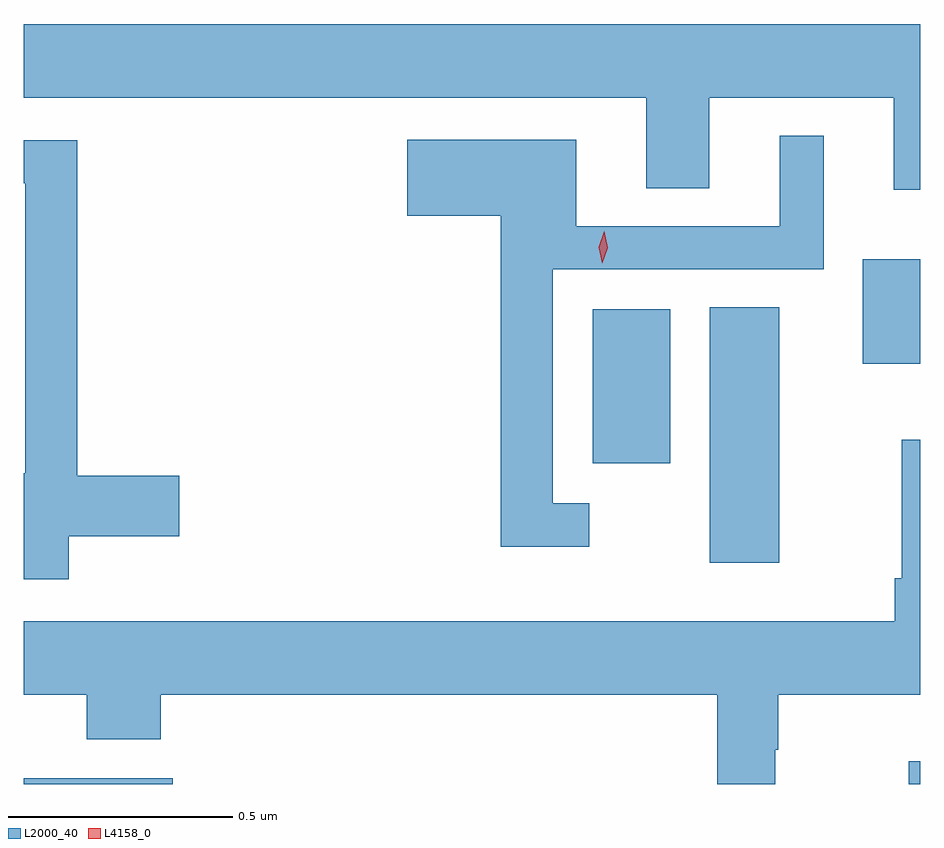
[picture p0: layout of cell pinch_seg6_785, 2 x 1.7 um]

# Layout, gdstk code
import gdstk
lib = gdstk.Library(unit=1e-6, precision=1e-09)
def R(c, l, rs):  # rectangles x0, y0, x1, y1
    for r in rs: c.add(gdstk.rectangle(r[:2], r[2:], *l))
def P(c, l, *ps):  # polygons
    for p in ps: c.add(gdstk.Polygon(p, *l))
L2000_40 = (2000, 40)
L4158_0 = (4158, 0)

pinch_seg6_785 = lib.new_cell('pinch_seg6_785')
R(pinch_seg6_785, L2000_40, [(614.936,916.501,615.269,916.514), (616.91,916.501,616.936,916.552), (616.466,916.995,616.621,917.564), (616.205,917.216,616.378,917.56), (616.808,917.438,616.936,917.671)])
P(pinch_seg6_785, L2000_40, [(616.936,918.196),(614.936,918.196),(614.936,918.032),(616.325,918.032),(616.325,917.83),(616.465,917.83),(616.465,918.032),(616.877,918.032),(616.877,917.826),(616.936,917.826)],
  [(616.198,917.127),(616.116,917.127),(616.116,917.649),(616.72,917.649),(616.72,917.947),(616.622,917.947),(616.622,917.745),(616.168,917.745),(616.168,917.938),(615.792,917.938),(615.792,917.768),(616,917.768),(616,917.03),(616.198,917.03)],
  [(615.037,917.054),(615.283,917.054),(615.283,917.189),(615.056,917.189),(615.056,917.937),(614.936,917.937),(614.936,917.841),(614.94,917.841),(614.94,917.194),(614.936,917.194),(614.936,916.958),(615.037,916.958)],
  [(616.612,916.577),(616.619,916.577),(616.619,916.7),(616.936,916.7),(616.936,917.269),(616.894,917.269),(616.894,916.96),(616.879,916.96),(616.879,916.864),(614.936,916.864),(614.936,916.7),(615.077,916.7),(615.077,916.601),(615.242,916.601),(615.242,916.7),(616.483,916.7),(616.483,916.501),(616.612,916.501)])
P(pinch_seg6_785, L4158_0, [(616.226,917.662),(616.226,917.662),(616.219,917.698),(616.231,917.734),(616.231,917.734),(616.231,917.734),(616.239,917.697),(616.226,917.662)])

lib.write_gds('pinch_seg6_785.gds')
